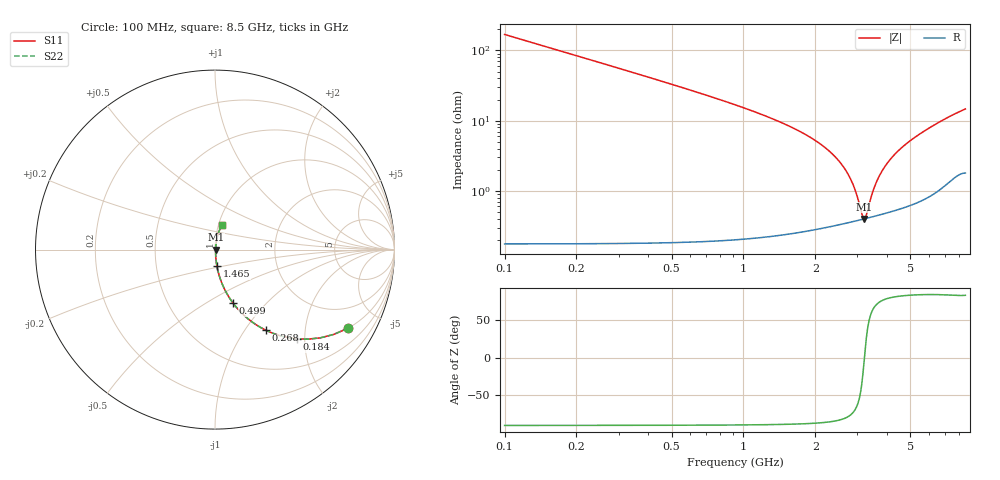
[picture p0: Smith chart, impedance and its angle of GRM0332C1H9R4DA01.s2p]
!Murata Part Number: GRM0332C1H9R4DA01
!These Parameters are Measured in Series Mode Connection
!Data Generated on Mar 30, 2021
!  o--ll--o
!Port1  Port2
!  o------o
!Operation Temp=25[degC], DC Bias Voltage=0[V]
!Freq. Start=100[MHz] Stop=9[GHz] 401[Steps]
# Hz S RI R 50
!Freq.(Hz) S11(Real) S11(Imag) S21(Real) S21(Imag) S12(Real) S12(Imag) S22(Real) S22(Imag)
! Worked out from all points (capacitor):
!   401 points, 100 MHz to 8.5 GHz, reference 50 ohm
!   read as one part in series: C = 9.4 pF near 142 MHz
!   lowest |Z| = 399 mohm at 3.208 GHz (marker M1)
!   series resonance near 3.211 GHz, so ESL is about 260 pH
!   S11 on the Smith chart (normalised r, x): 100 MHz: 1.00, -3.38; 184 MHz: 1.00, -1.83; 268 MHz: 1.00, -1.25; 499 MHz: 1.00, -0.66; 1.465 GHz: 1.00, -0.18; 8.5 GHz: 1.04, +0.29
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1e8  0.7408 -0.4377  0.2592 0.4377  0.2592 0.4377  0.7408 -0.4377
1.84e8  0.457 -0.4972  0.543 0.4972  0.543 0.4972  0.457 -0.4972
2.68e8  0.283 -0.4491  0.717 0.4491  0.717 0.4491  0.283 -0.4491
3.73e8  0.1681 -0.3719  0.8319 0.3719  0.8319 0.3719  0.1681 -0.3719
4.99e8  0.1002 -0.2975  0.8998 0.2975  0.8998 0.2975  0.1002 -0.2975
8.77e8  0.0328 -0.1726  0.9672 0.1726  0.9672 0.1726  0.0328 -0.1726
1.465e9  0.0106 -0.0906  0.9894 0.0906  0.9894 0.0906  0.0106 -0.0906
1.507e9  0.00999 -0.0868  0.99 0.0868  0.99 0.0868  0.00999 -0.0868
2.431e9  0.00408 -0.0298  0.9959 0.0298  0.9959 0.0298  0.00408 -0.0298
2.704e9  0.0038 -0.0183  0.9962 0.0183  0.9962 0.0183  0.0038 -0.0183
2.914e9  0.00378 -0.0103  0.9962 0.0103  0.9962 0.0103  0.00378 -0.0103
3.145e9  0.00391 -0.00221  0.9961 0.00221  0.9961 0.00221  0.00391 -0.00221
3.208e9  0.00397 -9.1e-05  0.996 9.1e-05  0.996 9.1e-05  0.00397 -9.1e-05
3.271e9  0.00404 0.00199  0.996 -0.00199  0.996 -0.00199  0.00404 0.00199
3.502e9  0.00437 0.00933  0.9956 -0.00933  0.9956 -0.00933  0.00437 0.00933
3.67e9  0.00468 0.0144  0.9953 -0.0144  0.9953 -0.0144  0.00468 0.0144
3.943e9  0.00528 0.0224  0.9947 -0.0224  0.9947 -0.0224  0.00528 0.0224
4.3e9  0.00625 0.0323  0.9938 -0.0323  0.9938 -0.0323  0.00625 0.0323
4.909e9  0.00839 0.0485  0.9916 -0.0485  0.9916 -0.0485  0.00839 0.0485
5.707e9  0.0123 0.0691  0.9877 -0.0691  0.9877 -0.0691  0.0123 0.0691
7.114e9  0.0236 0.105  0.9764 -0.105  0.9764 -0.105  0.0236 0.105
8.5e9  0.0374 0.1381  0.9626 -0.1381  0.9626 -0.1381  0.0374 0.1381
